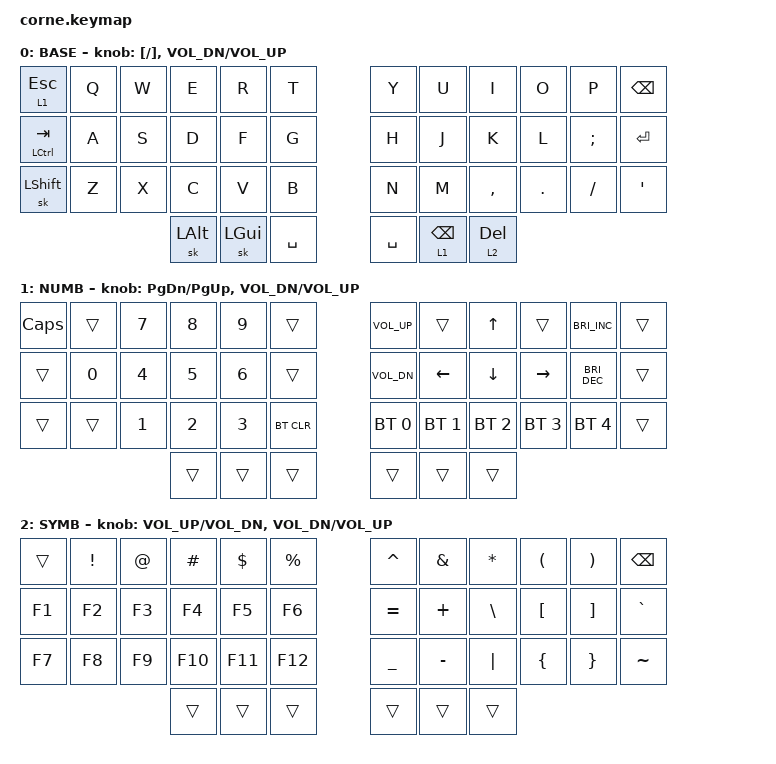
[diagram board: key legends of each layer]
#define ZMK_POINTING_DEFAULT_MOVE_VAL 1500  // default: 600
#define ZMK_POINTING_DEFAULT_SCRL_VAL 20    // default: 10

#include <behaviors.dtsi>
#include <dt-bindings/zmk/bt.h>
#include <dt-bindings/zmk/keys.h>

/ {
    keymap {
        compatible = "zmk,keymap";

        default_layer {
            display-name = "BASE";
            bindings = <
&lt 1 ESCAPE   &kp Q  &kp W  &kp E         &kp R     &kp T        &kp Y      &kp U       &kp I      &kp O    &kp P     &kp BSPC
&mt LCTRL TAB  &kp A  &kp S  &kp D         &kp F     &kp G        &kp H      &kp J       &kp K      &kp L    &kp SEMI  &kp RET
&sk LSHFT      &kp Z  &kp X  &kp C         &kp V     &kp B        &kp N      &kp M       &kp COMMA  &kp DOT  &kp FSLH  &kp SQT
                             &sk LEFT_ALT  &sk LGUI  &kp SPACE    &kp SPACE  &lt 1 BSPC  &lt 2 DEL
            >;

            sensor-bindings = <&inc_dec_kp LEFT_BRACKET RIGHT_BRACKET &inc_dec_kp C_VOL_DN C_VOL_UP>;
        };

        lower_layer {
            display-name = "NUMB";
            bindings = <
&kp CLCK  &trans  &kp N7  &kp N8  &kp N9  &trans        &kp C_VOLUME_UP  &trans        &kp UP        &trans        &kp C_BRIGHTNESS_INC  &trans
&trans    &kp N0  &kp N4  &kp N5  &kp N6  &trans        &kp C_VOL_DN     &kp LEFT      &kp DOWN      &kp RIGHT     &kp C_BRIGHTNESS_DEC  &trans
&trans    &trans  &kp N1  &kp N2  &kp N3  &bt BT_CLR    &bt BT_SEL 0     &bt BT_SEL 1  &bt BT_SEL 2  &bt BT_SEL 3  &bt BT_SEL 4          &trans
                          &trans  &trans  &trans        &trans           &trans        &trans
            >;

            sensor-bindings = <&inc_dec_kp PG_DN PG_UP &inc_dec_kp C_VOL_DN C_VOL_UP>;
        };

        raise_layer {
            display-name = "SYMB";
            bindings = <
&trans  &kp EXCL  &kp AT  &kp HASH  &kp DLLR  &kp PRCNT    &kp CARET  &kp AMPS   &kp ASTRK  &kp LPAR  &kp RPAR  &kp BSPC
&kp F1  &kp F2    &kp F3  &kp F4    &kp F5    &kp F6       &kp EQUAL  &kp PLUS   &kp BSLH   &kp LBKT  &kp RBKT  &kp GRAVE
&kp F7  &kp F8    &kp F9  &kp F10   &kp F11   &kp F12      &kp UNDER  &kp MINUS  &kp PIPE   &kp LBRC  &kp RBRC  &kp TILDE
                          &trans    &trans    &trans       &trans     &trans     &trans
            >;

            sensor-bindings = <&inc_dec_kp C_VOL_UP C_VOL_DN &inc_dec_kp C_VOL_DN C_VOL_UP>;
        };
    };
};
